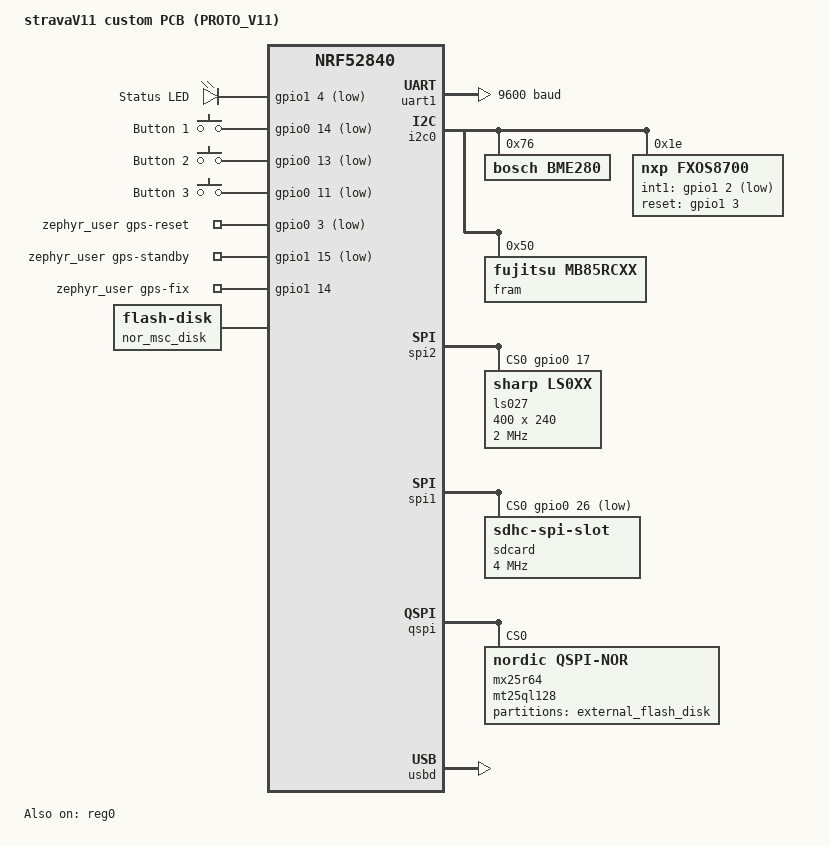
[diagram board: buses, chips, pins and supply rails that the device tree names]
/*
 * Phase 11: first real board definition for the custom stravaV11 PCB
 * (PROTO_V11 / v3 revision, per stravaV10's custom_board.h/custom_board_v3.h
 * -- confirmed with the user as the board actually connected). Same nRF52840
 * SoC as the DK, modeled on nrf52840dk_nrf52840.dts, but every pin
 * assignment below comes from the real PCB (custom_board_v3.h), not the DK's
 * Arduino header -- see stravav11_nrf52840-pinctrl.dtsi.
 *
 * Deliberately not console = a uart: custom_board_v3.h defines only one
 * UART pin pair, dedicated to the GPS module (source/sensors/GPSMGMT.cpp) --
 * there's no separate debug UART broken out on this board. Console/logging
 * goes over RTT instead (see stravav11_nrf52840_defconfig).
 */

/dts-v1/;
#include <nordic/nrf52840_qiaa.dtsi>
#include <nordic/nrf52840_partition.dtsi>
#include "stravav11_nrf52840-pinctrl.dtsi"

/ {
	model = "stravaV11 custom PCB (PROTO_V11)";
	compatible = "vincent,stravav11-nrf52840";

	chosen {
		zephyr,display = &ls027;
		/* Tells Partition Manager mx25r64 (the real MT25QL128 chip
		 * here) is a valid "external_flash" region -- see the
		 * raw-NOR-disk node near the mx25r64 definition below. */
		nordic,pm-ext-flash = &mx25r64;
	};

	leds {
		compatible = "gpio-leds";

		/* LED_1, P1.04, active low (LEDS_ACTIVE_STATE 0). */
		led0: led_0 {
			gpios = <&gpio1 4 GPIO_ACTIVE_LOW>;
			label = "Status LED";
		};
	};

	buttons {
		compatible = "gpio-keys";

		/* BUTTON_1/2/3, active low with pull-up (BUTTONS_ACTIVE_STATE 0). */
		button0: button_0 {
			gpios = <&gpio0 14 (GPIO_PULL_UP | GPIO_ACTIVE_LOW)>;
			label = "Button 1";
		};

		button1: button_1 {
			gpios = <&gpio0 13 (GPIO_PULL_UP | GPIO_ACTIVE_LOW)>;
			label = "Button 2";
		};

		button2: button_2 {
			gpios = <&gpio0 11 (GPIO_PULL_UP | GPIO_ACTIVE_LOW)>;
			label = "Button 3";
		};
	};

	aliases {
		led0 = &led0;
		sw0 = &button0;
		sw1 = &button1;
		sw2 = &button2;
		watchdog0 = &wdt0;
	};

	/* GPS module control/status GPIOs (GPS_R/GPS_S/FIX_PIN in
	 * custom_board_v3.h), not driven by any code yet -- neither the
	 * unported real GPSMGMT.cpp hardware layer nor this port's
	 * uart_demo() touch them, which is the likely reason the GPS UART
	 * receives unexplained bytes on every boot (see CLAUDE.md Phase 11):
	 * with both left floating/undriven, the module is never actually
	 * held in reset or standby, so it's free to run and transmit on its
	 * own. Polarity (active-low reset/standby, active-high fix) is taken
	 * from the only place in the codebase that encodes it --
	 * TDD/Simulator.cpp only emits NMEA data once
	 * `gpio_get(GPS_R) && gpio_get(GPS_S)` are both high, and drives
	 * FIX_PIN high to signal a fix -- not from any real hardware driver,
	 * since GPSMGMT.cpp's actual pin handling was never ported (Phase 6).
	 */
	zephyr_user: zephyr,user {
		gps-reset-gpios = <&gpio0 3 GPIO_ACTIVE_LOW>;
		gps-standby-gpios = <&gpio1 15 GPIO_ACTIVE_LOW>;
		gps-fix-gpios = <&gpio1 14 GPIO_ACTIVE_HIGH>;
	};
};

&reg0 {
	status = "okay";
};

&reg1 {
	regulator-initial-mode = <NRF5X_REG_MODE_DCDC>;
};

&gpiote {
	status = "okay";
};

&gpio0 {
	status = "okay";
};

&gpio1 {
	status = "okay";
};

/* GPS module (source/sensors/GPSMGMT.cpp), GPS_DEFAULT_SPEED_BAUD.
 * Labeled arduino_serial (not literally an Arduino pin on this board) only
 * so main.c's uart_demo(), written for the DK bring-up build, compiles
 * unchanged against this board too. */
arduino_serial: &uart1 {
	status = "okay";
	current-speed = <9600>;
	pinctrl-0 = <&uart1_default>;
	pinctrl-1 = <&uart1_sleep>;
	pinctrl-names = "default", "sleep";
};

/* Sensor bus: bme280, fxos8700, FRAM (mb85rcxx). STC3100/VEML6075 share
 * this bus too but don't have Zephyr drivers yet -- see CLAUDE.md Phase 3.
 * Labeled arduino_i2c for the same main.c source-compat reason as
 * arduino_serial above -- this is not the Arduino header on this board. */
arduino_i2c: &i2c0 {
	compatible = "nordic,nrf-twi";
	status = "okay";
	pinctrl-0 = <&i2c0_default>;
	pinctrl-1 = <&i2c0_sleep>;
	pinctrl-names = "default", "sleep";

	bme280: bme280@76 {
		compatible = "bosch,bme280";
		reg = <0x76>;
	};

	fxos8700: fxos8700@1e {
		compatible = "nxp,fxos8700";
		reg = <0x1e>;
		/* FXOS_INT1 / FXOS_RST from custom_board_v3.h. */
		int1-gpios = <&gpio1 2 GPIO_ACTIVE_LOW>;
		reset-gpios = <&gpio1 3 GPIO_ACTIVE_HIGH>;
	};

	fram: mb85rc@50 {
		compatible = "fujitsu,mb85rcxx";
		reg = <0x50>;
		size = <2048>;
		address-width = <8>;
	};
};

/* LS027 display, LS027_CS_PIN as a plain GPIO chip-select. Active HIGH,
 * not the more common active-low convention -- zephyr/drivers/display/
 * ls0xx.c hardcodes SPI_CS_ACTIVE_HIGH in its own spi_config, and the
 * DK overlay's own arduino_spi cs-gpios (Phase 2) already got this right;
 * this board's version had it backwards (GPIO_ACTIVE_LOW), corrupting
 * every SPI transaction to the display -- found via real-glass output
 * that looked like noise, not the intended shapes, on the very first
 * physical LS027 this port has ever been visually checked against. */
&spi2 {
	compatible = "nordic,nrf-spi";
	status = "okay";
	cs-gpios = <&gpio0 17 GPIO_ACTIVE_HIGH>;
	pinctrl-0 = <&spi2_default>;
	pinctrl-1 = <&spi2_sleep>;
	pinctrl-names = "default", "sleep";

	/* No VCOM-related properties: VCOM on this board is toggled by a
	 * hardware circuit, not software (confirmed with the user) -- so
	 * neither serial-vcom-inversion (the v3.3.4-only in-band SPI
	 * approach this port used before, which turned out to be
	 * unnecessary all along) nor extcomin-gpios (a dedicated MCU pin
	 * this board doesn't have) apply. ls0xx.c gates all of its VCOM
	 * toggling code behind DT_INST_NODE_HAS_PROP(0, extcomin_gpios); with
	 * neither property present, the driver only ever does plain SPI
	 * content writes and never touches VCOM, which is exactly correct
	 * here. This also means the driver doesn't need the v3.3.4-only
	 * serial-vcom-inversion binding property, so this node works
	 * unmodified on sdk-nrf v3.2.4 too. */
	ls027: ls0xx@0 {
		compatible = "sharp,ls0xx";
		reg = <0>;
		spi-max-frequency = <2000000>;
		width = <400>;
		height = <240>;
	};
};

/* SD card, SDC_CS_PIN as a plain GPIO chip-select. */
sd_spi: &spi1 {
	compatible = "nordic,nrf-spi";
	status = "okay";
	cs-gpios = <&gpio0 26 GPIO_ACTIVE_LOW>;
	pinctrl-0 = <&spi1_default>;
	pinctrl-1 = <&spi1_sleep>;
	pinctrl-names = "default", "sleep";

	sdcard: sdhc@0 {
		compatible = "zephyr,sdhc-spi-slot";
		reg = <0>;
		status = "okay";
		spi-max-frequency = <4000000>;

		sdmmc {
			compatible = "zephyr,sdmmc-disk";
			disk-name = "SD";
			status = "okay";
		};
	};
};

/* External QSPI NOR: MT25QL128 (libraries/SST/mt25.c), JEDEC ID 20 BA 18 --
 * a different chip from the DK's on-board MX25R6435F (Phase 4). Kept
 * single-line SPI mode (default readoc/writeoc, quad-enable-requirements =
 * NONE so the driver never touches the QE bit) for this first bring-up on
 * real, never-before-flashed hardware -- quad I/O is a later optimization,
 * not needed to prove the chip works. */
&qspi {
	status = "okay";
	pinctrl-0 = <&qspi_default>;
	pinctrl-1 = <&qspi_sleep>;
	pinctrl-names = "default", "sleep";

	/* Labeled mx25r64 (the DK's actual chip, not this board's) for the
	 * same main.c source-compat reason as arduino_i2c/arduino_serial
	 * above -- the real chip here is MT25QL128, see jedec-id below. */
	mx25r64: mt25ql128@0 {
		compatible = "nordic,qspi-nor";
		reg = <0>;
		sck-frequency = <8000000>;
		jedec-id = [20 ba 18];
		size = <134217728>;
		quad-enable-requirements = "NONE";
	};
};

/* Raw NOR-as-USB-disk: the chip holds raw data, not a filesystem, so it's
 * exposed as a second, unformatted USB MSC LUN (see usb_demo.c) rather
 * than mounting anything. Needs *two* pieces together: the
 * "nordic,pm-ext-flash" chosen entry above (so PM treats mx25r64 as an
 * "external_flash" region at all) and the pm_static_stravav11_nrf52840.yml
 * partition (region: external_flash, affiliation: disk) that supplies the
 * name, cache_size, sector_size and read_only extra_params flashdisk.c's
 * PM-affiliation code path reads -- a hand-written devicetree
 * fixed-partitions node alone (tried during Phase 4, DK-only at the time)
 * isn't visible to PM's own scan for that half.
 *
 * What that path does NOT get from pm_static.yml, despite being in the
 * "PM" branch: offset/size/area-id. Those come from
 * FIXED_PARTITION_OFFSET/SIZE/ID(n), which -- confirmed by reading
 * flash_map.h -- expand to DT_REG_ADDR/SIZE(DT_NODELABEL(n)), i.e. a
 * plain devicetree lookup, always, regardless of Partition Manager. `n`
 * is the affiliation macro's own uppercased partition-name token
 * (PM_FOREACH_AFFILIATED_TO_disk(fn) = fn(EXTERNAL_FLASH_DISK), confirmed
 * in the build's pm.config) -- so this devicetree node's *label* must be
 * that exact uppercase token for FIXED_PARTITION_SIZE to resolve at all.
 * First attempt used an arbitrary lowercase label + a tiny 0x1000
 * placeholder reg (reasoning: "PM supplies the real numbers") and built
 * clean but silently produced a real, zero-byte USB disk on real
 * hardware (lsblk: "0B") -- DT_NODELABEL of a non-matching label doesn't
 * error, it just resolves to nothing and DT_REG_SIZE of that is 0. Fixed
 * by matching both the label and the reg range to the pm_static.yml
 * partition exactly; the two must be kept in sync by hand since nothing
 * cross-checks them. */
&mx25r64 {
	partitions {
		compatible = "fixed-partitions";
		#address-cells = <1>;
		#size-cells = <1>;

		/* Label and reg MUST match pm_static_stravav11_nrf52840.yml's
		 * external_flash_disk partition (address 0x0, size 0x1000000)
		 * -- see the comment above for why. */
		EXTERNAL_FLASH_DISK: partition@0 {
			label = "external_flash_disk";
			reg = <0x0 0x1000000>;
		};
	};
};

/ {
	nor_msc_disk: nor-msc-disk {
		compatible = "zephyr,flash-disk";
		partition = <&EXTERNAL_FLASH_DISK>;
		/* disk-name/cache-size here are unused (see comment above --
		 * flashdisk.c's PM-affiliation path takes the real disk name
		 * from pm_static.yml's extra_params.disk_name instead), kept
		 * only because the devicetree binding requires them. */
		disk-name = "NOR_DT_UNUSED";
		cache-size = <4096>;
	};
};

zephyr_udc0: &usbd {
	compatible = "nordic,nrf-usbd";
	status = "okay";

	/* Phase 9 CDC-ACM: usb_demo.c's DEVICE_DT_GET_ONE(zephyr_cdc_acm_uart)
	 * needs this child node, same as the DK overlay. */
	cdc_acm_uart0: cdc_acm_uart0 {
		compatible = "zephyr,cdc-acm-uart";
		label = "stravaV11 CDC-ACM";
	};
};
